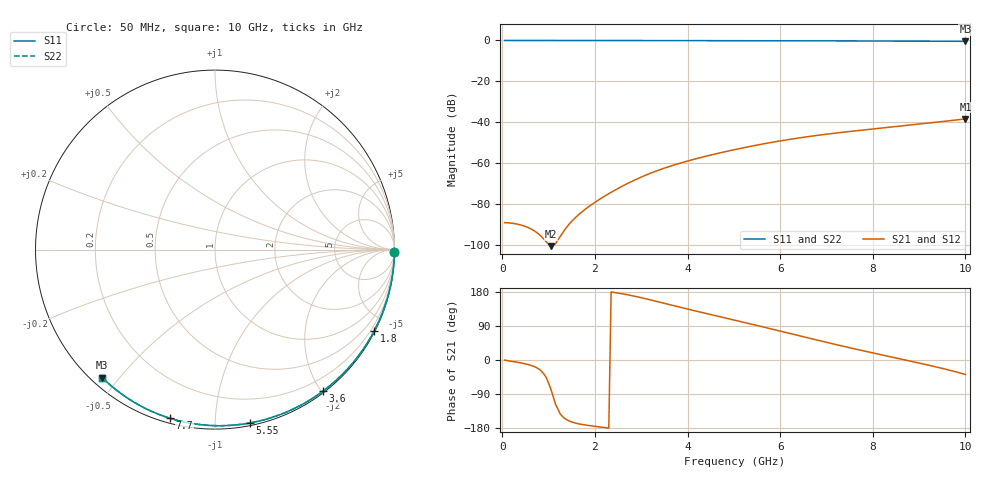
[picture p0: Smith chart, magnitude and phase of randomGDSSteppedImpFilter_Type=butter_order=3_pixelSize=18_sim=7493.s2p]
! freq	dB(S11)	phase(S11)	dB(S12)	phase(S12)
!  dB(S21)	phase(S21)	dB(S22)	phase(S22)
!S-par simulation data
#  GHz  S  DB  R 50
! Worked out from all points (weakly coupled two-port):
!   200 points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, 50 MHz to 10 GHz, reference 50 ohm
!   highest |S21| = -38.27 dB at 10 GHz (marker M1); lowest = -100.3 dB at 1.05 GHz (marker M2)
!   lowest |S11| = -0.4 dB at 10 GHz (marker M3), VSWR 39.50, Z = 1.52 - j22.6 ohm
!   |S11| at or under -10 dB: nowhere
!   |S22| runs from -0.4 to 0.0 dB; largest |S21 - S12| = 0
!   S11 on the Smith chart (normalised r, x): 50 MHz: open; 1.8 GHz: 0.04, -4.18; 3.6 GHz: 0.02, -2.02; 5.55 GHz: 0.02, -1.22; 7.7 GHz: 0.02, -0.77; 10 GHz: 0.03, -0.45
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0.05  -0.00 -0.8  -88.86 -0.3  -88.86 -0.3  -0.00 -0.8
0.55  -0.01 -8.3  -91.18 -11.7  -91.18 -11.7  -0.01 -8.3
1.05  -0.02 -15.8  -100.34 -77.1  -100.34 -77.1  -0.02 -15.8
1.75  -0.03 -26.2  -83.05 -170.8  -83.05 -170.8  -0.03 -26.2
1.8  -0.03 -26.9  -82.16 -171.7  -82.16 -171.7  -0.03 -26.9
1.9  -0.04 -28.4  -80.51 -173.5  -80.51 -173.5  -0.04 -28.4
1.95  -0.04 -29.1  -79.71 -174.3  -79.71 -174.3  -0.04 -29.1
2.25  -0.04 -33.5  -75.38 -178.9  -75.38 -178.9  -0.04 -33.5
2.65  -0.05 -39.2  -70.37 173.4  -70.37 173.4  -0.05 -39.2
3.05  -0.06 -44.9  -66.14 163.0  -66.14 163.0  -0.06 -44.9
3.4  -0.07 -49.9  -63.05 152.6  -63.05 152.6  -0.07 -49.9
3.6  -0.07 -52.6  -61.52 146.5  -61.52 146.5  -0.07 -52.6
3.9  -0.08 -56.8  -59.45 137.4  -59.45 137.4  -0.08 -56.8
4.25  -0.09 -61.5  -57.30 127.1  -57.30 127.1  -0.09 -61.5
5.05  -0.11 -72.2  -53.09 104.2  -53.09 104.2  -0.11 -72.2
5.55  -0.13 -78.6  -50.81 89.7  -50.81 89.7  -0.13 -78.6
6.1  -0.15 -85.6  -48.62 73.4  -48.62 73.4  -0.15 -85.6
6.7  -0.18 -93.0  -46.60 55.5  -46.60 55.5  -0.18 -93.0
7.7  -0.24 -105.0  -43.91 26.8  -43.91 26.8  -0.24 -105.0
8.35  -0.29 -112.6  -42.38 9.4  -42.38 9.4  -0.29 -112.6
9.15  -0.36 -121.7  -40.45 -12.1  -40.45 -12.1  -0.36 -121.7
10  -0.44 -131.4  -38.27 -38.2  -38.27 -38.2  -0.44 -131.4
